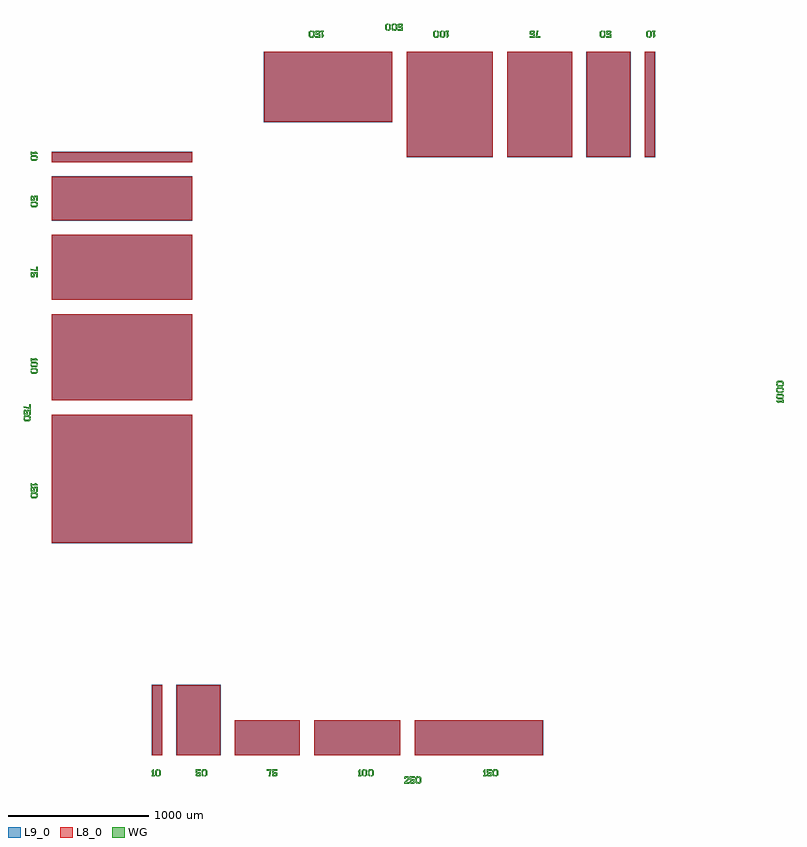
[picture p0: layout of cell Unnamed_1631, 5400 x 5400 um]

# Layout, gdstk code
from math import pi, radians
import gdstk
lib = gdstk.Library(unit=1e-6, precision=1e-09)
def R(c, l, rs):  # rectangles x0, y0, x1, y1
    for r in rs: c.add(gdstk.rectangle(r[:2], r[2:], *l))
def P(c, l, *ps):  # polygons
    for p in ps: c.add(gdstk.Polygon(p, *l))
WG = (1, 0)
L8_0 = (8, 0)
L9_0 = (9, 0)

unnamed_1630 = lib.new_cell('Unnamed_1630')

unnamed_1628 = lib.new_cell('Unnamed_1628')

rectangle_s914_1000_l9__ = lib.new_cell('rectangle_S914_1000_L9__b235e38e')
R(rectangle_s914_1000_l9__, L9_0, [(0,0,914,1000)])

text_t150_s50_p0_0_jleft = lib.new_cell('text_T150_S50_P0_0_Jleft_L1_0')
P(text_t150_s50_p0_0_jleft, WG, [(88.5,0),(91,10),(95,10),(100,15),(100,35),(95,40),(97.5,50),(100,50),(110,40),(110,10),(100,0)],
  [(80,0),(70,10),(70,40),(80,50),(91.5,50),(89,40),(85,40),(80,35),(80,15),(85,10),(82.5,0)],
  [(35,0),(30,5),(30,15),(40,15),(40,10),(55,10),(55,20),(35,20),(30,25),(30,50),(65,50),(65,40),(40,40),(40,30),(60,30),(65,25),(65,5),(60,0)],
  [(5,0),(5,10),(10,10),(10,30),(5,30),(5,40),(15,50),(20,50),(20,10),(25,10),(25,0)])

rectangle_s150_998_l8_0_ = lib.new_cell('rectangle_S150_998_L8_0_cd40ac17')
R(rectangle_s150_998_l8_0_, L8_0, [(0,0,150,998)])

unnamed_1623 = lib.new_cell('Unnamed_1623')
unnamed_1623.add(gdstk.Reference(rectangle_s914_1000_l9__, (212.286,0)))
unnamed_1623.add(gdstk.Reference(text_t150_s50_p0_0_jleft, (696.286,-150)))
unnamed_1623.add(gdstk.Reference(rectangle_s150_998_l8_0_, (214.286,0)))
unnamed_1623.add(gdstk.Reference(rectangle_s150_998_l8_0_, (366.286,0)))
unnamed_1623.add(gdstk.Reference(rectangle_s150_998_l8_0_, (518.286,0)))
unnamed_1623.add(gdstk.Reference(rectangle_s150_998_l8_0_, (670.286,0)))
unnamed_1623.add(gdstk.Reference(rectangle_s150_998_l8_0_, (822.286,0)))
unnamed_1623.add(gdstk.Reference(rectangle_s150_998_l8_0_, (974.286,0)))

rectangle_s614_1000_l9__ = lib.new_cell('rectangle_S614_1000_L9__025cc8c6')
R(rectangle_s614_1000_l9__, L9_0, [(0,0,614,1000)])

text_t100_s50_p0_0_jleft = lib.new_cell('text_T100_S50_P0_0_Jleft_L1_0')
P(text_t100_s50_p0_0_jleft, WG, [(48.5,0),(51,10),(55,10),(60,15),(60,35),(55,40),(57.5,50),(60,50),(70,40),(70,10),(60,0)],
  [(93.5,0),(96,10),(100,10),(105,15),(105,35),(100,40),(102.5,50),(105,50),(115,40),(115,10),(105,0)],
  [(40,0),(30,10),(30,40),(40,50),(51.5,50),(49,40),(45,40),(40,35),(40,15),(45,10),(42.5,0)],
  [(85,0),(75,10),(75,40),(85,50),(96.5,50),(94,40),(90,40),(85,35),(85,15),(90,10),(87.5,0)],
  [(5,0),(5,10),(10,10),(10,30),(5,30),(5,40),(15,50),(20,50),(20,10),(25,10),(25,0)])

rectangle_s100_998_l8_0_ = lib.new_cell('rectangle_S100_998_L8_0_c306aa22')
R(rectangle_s100_998_l8_0_, L8_0, [(0,0,100,998)])

unnamed_1622 = lib.new_cell('Unnamed_1622')
unnamed_1622.add(gdstk.Reference(rectangle_s614_1000_l9__, (212.286,0)))
unnamed_1622.add(gdstk.Reference(text_t100_s50_p0_0_jleft, (521.286,-150)))
unnamed_1622.add(gdstk.Reference(rectangle_s100_998_l8_0_, (214.286,0)))
unnamed_1622.add(gdstk.Reference(rectangle_s100_998_l8_0_, (316.286,0)))
unnamed_1622.add(gdstk.Reference(rectangle_s100_998_l8_0_, (418.286,0)))
unnamed_1622.add(gdstk.Reference(rectangle_s100_998_l8_0_, (520.286,0)))
unnamed_1622.add(gdstk.Reference(rectangle_s100_998_l8_0_, (622.286,0)))
unnamed_1622.add(gdstk.Reference(rectangle_s100_998_l8_0_, (724.286,0)))

rectangle_s464_1000_l9__ = lib.new_cell('rectangle_S464_1000_L9__ba63a64b')
R(rectangle_s464_1000_l9__, L9_0, [(0,0,464,1000)])

text_t75_s50_p0_0_jleft_ = lib.new_cell('text_T75_S50_P0_0_Jleft_L1_0')
P(text_t75_s50_p0_0_jleft_, WG, [(50,0),(45,5),(45,15),(55,15),(55,10),(70,10),(70,20),(50,20),(45,25),(45,50),(80,50),(80,40),(55,40),(55,30),(75,30),(80,25),(80,5),(75,0)],
  [(20,0),(28,40),(5,40),(5,50),(40,50),(30,0)])

rectangle_s75_998_l8_0__ = lib.new_cell('rectangle_S75_998_L8_0__cc8ebacf')
R(rectangle_s75_998_l8_0__, L8_0, [(0,0,75,998)])

unnamed_1621 = lib.new_cell('Unnamed_1621')
unnamed_1621.add(gdstk.Reference(rectangle_s464_1000_l9__, (212.286,0)))
unnamed_1621.add(gdstk.Reference(text_t75_s50_p0_0_jleft_, (433.786,-150)))
unnamed_1621.add(gdstk.Reference(rectangle_s75_998_l8_0__, (214.286,0)))
unnamed_1621.add(gdstk.Reference(rectangle_s75_998_l8_0__, (291.286,0)))
unnamed_1621.add(gdstk.Reference(rectangle_s75_998_l8_0__, (368.286,0)))
unnamed_1621.add(gdstk.Reference(rectangle_s75_998_l8_0__, (445.286,0)))
unnamed_1621.add(gdstk.Reference(rectangle_s75_998_l8_0__, (522.286,0)))
unnamed_1621.add(gdstk.Reference(rectangle_s75_998_l8_0__, (599.286,0)))

text_t750_s50_p0_0_jleft = lib.new_cell('text_T750_S50_P0_0_Jleft_L1_0')
P(text_t750_s50_p0_0_jleft, WG, [(95,0),(85,10),(85,40),(95,50),(106.5,50),(104,40),(100,40),(95,35),(95,15),(100,10),(97.5,0)],
  [(50,0),(45,5),(45,15),(55,15),(55,10),(70,10),(70,20),(50,20),(45,25),(45,50),(80,50),(80,40),(55,40),(55,30),(75,30),(80,25),(80,5),(75,0)],
  [(103.5,0),(106,10),(110,10),(115,15),(115,35),(110,40),(112.5,50),(115,50),(125,40),(125,10),(115,0)],
  [(20,0),(28,40),(5,40),(5,50),(40,50),(30,0)])

rectangle_s314_1000_l9__ = lib.new_cell('rectangle_S314_1000_L9__60679f04')
R(rectangle_s314_1000_l9__, L9_0, [(0,0,314,1000)])

text_t50_s50_p0_0_jleft_ = lib.new_cell('text_T50_S50_P0_0_Jleft_L1_0')
P(text_t50_s50_p0_0_jleft_, WG, [(63.5,0),(66,10),(70,10),(75,15),(75,35),(70,40),(72.5,50),(75,50),(85,40),(85,10),(75,0)],
  [(55,0),(45,10),(45,40),(55,50),(66.5,50),(64,40),(60,40),(55,35),(55,15),(60,10),(57.5,0)],
  [(10,0),(5,5),(5,15),(15,15),(15,10),(30,10),(30,20),(10,20),(5,25),(5,50),(40,50),(40,40),(15,40),(15,30),(35,30),(40,25),(40,5),(35,0)])

rectangle_s50_998_l8_0__ = lib.new_cell('rectangle_S50_998_L8_0__a3cc393b')
R(rectangle_s50_998_l8_0__, L8_0, [(0,0,50,998)])

unnamed_1620 = lib.new_cell('Unnamed_1620')
unnamed_1620.add(gdstk.Reference(rectangle_s314_1000_l9__, (212.286,0)))
unnamed_1620.add(gdstk.Reference(text_t50_s50_p0_0_jleft_, (346.286,-150)))
unnamed_1620.add(gdstk.Reference(rectangle_s50_998_l8_0__, (214.286,0)))
unnamed_1620.add(gdstk.Reference(rectangle_s50_998_l8_0__, (266.286,0)))
unnamed_1620.add(gdstk.Reference(rectangle_s50_998_l8_0__, (318.286,0)))
unnamed_1620.add(gdstk.Reference(rectangle_s50_998_l8_0__, (370.286,0)))
unnamed_1620.add(gdstk.Reference(rectangle_s50_998_l8_0__, (422.286,0)))
unnamed_1620.add(gdstk.Reference(rectangle_s50_998_l8_0__, (474.286,0)))

rectangle_s74_1000_l9_0_ = lib.new_cell('rectangle_S74_1000_L9_0_be32ce78')
R(rectangle_s74_1000_l9_0_, L9_0, [(0,0,74,1000)])

text_t10_s50_p0_0_jleft_ = lib.new_cell('text_T10_S50_P0_0_Jleft_L1_0')
P(text_t10_s50_p0_0_jleft_, WG, [(48.5,0),(51,10),(55,10),(60,15),(60,35),(55,40),(57.5,50),(60,50),(70,40),(70,10),(60,0)],
  [(40,0),(30,10),(30,40),(40,50),(51.5,50),(49,40),(45,40),(40,35),(40,15),(45,10),(42.5,0)],
  [(5,0),(5,10),(10,10),(10,30),(5,30),(5,40),(15,50),(20,50),(20,10),(25,10),(25,0)])

rectangle_s10_998_l8_0__ = lib.new_cell('rectangle_S10_998_L8_0__618c10ad')
R(rectangle_s10_998_l8_0__, L8_0, [(0,0,10,998)])

unnamed_1619 = lib.new_cell('Unnamed_1619')
unnamed_1619.add(gdstk.Reference(rectangle_s74_1000_l9_0_, (212.286,0)))
unnamed_1619.add(gdstk.Reference(text_t10_s50_p0_0_jleft_, (206.286,-150)))
unnamed_1619.add(gdstk.Reference(rectangle_s10_998_l8_0__, (214.286,0)))
unnamed_1619.add(gdstk.Reference(rectangle_s10_998_l8_0__, (226.286,0)))
unnamed_1619.add(gdstk.Reference(rectangle_s10_998_l8_0__, (238.286,0)))
unnamed_1619.add(gdstk.Reference(rectangle_s10_998_l8_0__, (250.286,0)))
unnamed_1619.add(gdstk.Reference(rectangle_s10_998_l8_0__, (262.286,0)))
unnamed_1619.add(gdstk.Reference(rectangle_s10_998_l8_0__, (274.286,0)))

rectangle_s914_750_l9_0_ = lib.new_cell('rectangle_S914_750_L9_0_776c0aa1')
R(rectangle_s914_750_l9_0_, L9_0, [(0,0,914,750)])

rectangle_s150_748_l8_0_ = lib.new_cell('rectangle_S150_748_L8_0_392cc59f')
R(rectangle_s150_748_l8_0_, L8_0, [(0,0,150,748)])

unnamed_1618 = lib.new_cell('Unnamed_1618')
unnamed_1618.add(gdstk.Reference(rectangle_s914_750_l9_0_, (212.286,0)))
unnamed_1618.add(gdstk.Reference(text_t150_s50_p0_0_jleft, (696.286,-150)))
unnamed_1618.add(gdstk.Reference(rectangle_s150_748_l8_0_, (214.286,0)))
unnamed_1618.add(gdstk.Reference(rectangle_s150_748_l8_0_, (366.286,0)))
unnamed_1618.add(gdstk.Reference(rectangle_s150_748_l8_0_, (518.286,0)))
unnamed_1618.add(gdstk.Reference(rectangle_s150_748_l8_0_, (670.286,0)))
unnamed_1618.add(gdstk.Reference(rectangle_s150_748_l8_0_, (822.286,0)))
unnamed_1618.add(gdstk.Reference(rectangle_s150_748_l8_0_, (974.286,0)))

unnamed_1626 = lib.new_cell('Unnamed_1626')
unnamed_1626.add(gdstk.Reference(unnamed_1623, (2366,0)))
unnamed_1626.add(gdstk.Reference(unnamed_1622, (1652,0)))
unnamed_1626.add(gdstk.Reference(unnamed_1621, (1088,0)))
unnamed_1626.add(gdstk.Reference(text_t750_s50_p0_0_jleft, (2500,-200)))
unnamed_1626.add(gdstk.Reference(unnamed_1620, (674,0)))
unnamed_1626.add(gdstk.Reference(unnamed_1619, (500,0)))
unnamed_1626.add(gdstk.Reference(unnamed_1618, (2366,0)))

rectangle_s464_750_l9_0_ = lib.new_cell('rectangle_S464_750_L9_0_09551f73')
R(rectangle_s464_750_l9_0_, L9_0, [(0,0,464,750)])

rectangle_s75_748_l8_0__ = lib.new_cell('rectangle_S75_748_L8_0__21cc7b18')
R(rectangle_s75_748_l8_0__, L8_0, [(0,0,75,748)])

unnamed_1616 = lib.new_cell('Unnamed_1616')
unnamed_1616.add(gdstk.Reference(rectangle_s464_750_l9_0_, (212.286,0)))
unnamed_1616.add(gdstk.Reference(text_t75_s50_p0_0_jleft_, (433.786,-150)))
unnamed_1616.add(gdstk.Reference(rectangle_s75_748_l8_0__, (214.286,0)))
unnamed_1616.add(gdstk.Reference(rectangle_s75_748_l8_0__, (291.286,0)))
unnamed_1616.add(gdstk.Reference(rectangle_s75_748_l8_0__, (368.286,0)))
unnamed_1616.add(gdstk.Reference(rectangle_s75_748_l8_0__, (445.286,0)))
unnamed_1616.add(gdstk.Reference(rectangle_s75_748_l8_0__, (522.286,0)))
unnamed_1616.add(gdstk.Reference(rectangle_s75_748_l8_0__, (599.286,0)))

rectangle_s314_750_l9_0_ = lib.new_cell('rectangle_S314_750_L9_0_d0537e9e')
R(rectangle_s314_750_l9_0_, L9_0, [(0,0,314,750)])

rectangle_s50_748_l8_0__ = lib.new_cell('rectangle_S50_748_L8_0__e69bb82a')
R(rectangle_s50_748_l8_0__, L8_0, [(0,0,50,748)])

unnamed_1615 = lib.new_cell('Unnamed_1615')
unnamed_1615.add(gdstk.Reference(rectangle_s314_750_l9_0_, (212.286,0)))
unnamed_1615.add(gdstk.Reference(text_t50_s50_p0_0_jleft_, (346.286,-150)))
unnamed_1615.add(gdstk.Reference(rectangle_s50_748_l8_0__, (214.286,0)))
unnamed_1615.add(gdstk.Reference(rectangle_s50_748_l8_0__, (266.286,0)))
unnamed_1615.add(gdstk.Reference(rectangle_s50_748_l8_0__, (318.286,0)))
unnamed_1615.add(gdstk.Reference(rectangle_s50_748_l8_0__, (370.286,0)))
unnamed_1615.add(gdstk.Reference(rectangle_s50_748_l8_0__, (422.286,0)))
unnamed_1615.add(gdstk.Reference(rectangle_s50_748_l8_0__, (474.286,0)))

rectangle_s914_500_l9_0_ = lib.new_cell('rectangle_S914_500_L9_0_3b0a7fad')
R(rectangle_s914_500_l9_0_, L9_0, [(0,0,914,500)])

rectangle_s150_498_l8_0_ = lib.new_cell('rectangle_S150_498_L8_0_3344f8a4')
R(rectangle_s150_498_l8_0_, L8_0, [(0,0,150,498)])

unnamed_1613 = lib.new_cell('Unnamed_1613')
unnamed_1613.add(gdstk.Reference(rectangle_s914_500_l9_0_, (212.286,0)))
unnamed_1613.add(gdstk.Reference(text_t150_s50_p0_0_jleft, (696.286,-150)))
unnamed_1613.add(gdstk.Reference(rectangle_s150_498_l8_0_, (214.286,0)))
unnamed_1613.add(gdstk.Reference(rectangle_s150_498_l8_0_, (366.286,0)))
unnamed_1613.add(gdstk.Reference(rectangle_s150_498_l8_0_, (518.286,0)))
unnamed_1613.add(gdstk.Reference(rectangle_s150_498_l8_0_, (670.286,0)))
unnamed_1613.add(gdstk.Reference(rectangle_s150_498_l8_0_, (822.286,0)))
unnamed_1613.add(gdstk.Reference(rectangle_s150_498_l8_0_, (974.286,0)))

rectangle_s614_750_l9_0_ = lib.new_cell('rectangle_S614_750_L9_0_d56e5c2b')
R(rectangle_s614_750_l9_0_, L9_0, [(0,0,614,750)])

rectangle_s100_748_l8_0_ = lib.new_cell('rectangle_S100_748_L8_0_e52924da')
R(rectangle_s100_748_l8_0_, L8_0, [(0,0,100,748)])

unnamed_1617 = lib.new_cell('Unnamed_1617')
unnamed_1617.add(gdstk.Reference(text_t100_s50_p0_0_jleft, (521.286,-150)))
unnamed_1617.add(gdstk.Reference(rectangle_s614_750_l9_0_, (212.286,0)))
unnamed_1617.add(gdstk.Reference(rectangle_s100_748_l8_0_, (214.286,0)))
unnamed_1617.add(gdstk.Reference(rectangle_s100_748_l8_0_, (316.286,0)))
unnamed_1617.add(gdstk.Reference(rectangle_s100_748_l8_0_, (418.286,0)))
unnamed_1617.add(gdstk.Reference(rectangle_s100_748_l8_0_, (520.286,0)))
unnamed_1617.add(gdstk.Reference(rectangle_s100_748_l8_0_, (622.286,0)))
unnamed_1617.add(gdstk.Reference(rectangle_s100_748_l8_0_, (724.286,0)))

rectangle_s614_500_l9_0_ = lib.new_cell('rectangle_S614_500_L9_0_e85d4b33')
R(rectangle_s614_500_l9_0_, L9_0, [(0,0,614,500)])

rectangle_s100_498_l8_0_ = lib.new_cell('rectangle_S100_498_L8_0_8e44272a')
R(rectangle_s100_498_l8_0_, L8_0, [(0,0,100,498)])

unnamed_1612 = lib.new_cell('Unnamed_1612')
unnamed_1612.add(gdstk.Reference(rectangle_s614_500_l9_0_, (212.286,0)))
unnamed_1612.add(gdstk.Reference(text_t100_s50_p0_0_jleft, (521.286,-150)))
unnamed_1612.add(gdstk.Reference(rectangle_s100_498_l8_0_, (214.286,0)))
unnamed_1612.add(gdstk.Reference(rectangle_s100_498_l8_0_, (316.286,0)))
unnamed_1612.add(gdstk.Reference(rectangle_s100_498_l8_0_, (418.286,0)))
unnamed_1612.add(gdstk.Reference(rectangle_s100_498_l8_0_, (520.286,0)))
unnamed_1612.add(gdstk.Reference(rectangle_s100_498_l8_0_, (622.286,0)))
unnamed_1612.add(gdstk.Reference(rectangle_s100_498_l8_0_, (724.286,0)))

rectangle_s74_750_l9_0__ = lib.new_cell('rectangle_S74_750_L9_0__8d9798fd')
R(rectangle_s74_750_l9_0__, L9_0, [(0,0,74,750)])

rectangle_s10_748_l8_0__ = lib.new_cell('rectangle_S10_748_L8_0__afdd4900')
R(rectangle_s10_748_l8_0__, L8_0, [(0,0,10,748)])

unnamed_1614 = lib.new_cell('Unnamed_1614')
unnamed_1614.add(gdstk.Reference(rectangle_s74_750_l9_0__, (212.286,0)))
unnamed_1614.add(gdstk.Reference(text_t10_s50_p0_0_jleft_, (206.286,-150)))
unnamed_1614.add(gdstk.Reference(rectangle_s10_748_l8_0__, (214.286,0)))
unnamed_1614.add(gdstk.Reference(rectangle_s10_748_l8_0__, (226.286,0)))
unnamed_1614.add(gdstk.Reference(rectangle_s10_748_l8_0__, (238.286,0)))
unnamed_1614.add(gdstk.Reference(rectangle_s10_748_l8_0__, (250.286,0)))
unnamed_1614.add(gdstk.Reference(rectangle_s10_748_l8_0__, (262.286,0)))
unnamed_1614.add(gdstk.Reference(rectangle_s10_748_l8_0__, (274.286,0)))

text_t500_s50_p0_0_jleft = lib.new_cell('text_T500_S50_P0_0_Jleft_L1_0')
P(text_t500_s50_p0_0_jleft, WG, [(63.5,0),(66,10),(70,10),(75,15),(75,35),(70,40),(72.5,50),(75,50),(85,40),(85,10),(75,0)],
  [(108.5,0),(111,10),(115,10),(120,15),(120,35),(115,40),(117.5,50),(120,50),(130,40),(130,10),(120,0)],
  [(55,0),(45,10),(45,40),(55,50),(66.5,50),(64,40),(60,40),(55,35),(55,15),(60,10),(57.5,0)],
  [(100,0),(90,10),(90,40),(100,50),(111.5,50),(109,40),(105,40),(100,35),(100,15),(105,10),(102.5,0)],
  [(10,0),(5,5),(5,15),(15,15),(15,10),(30,10),(30,20),(10,20),(5,25),(5,50),(40,50),(40,40),(15,40),(15,30),(35,30),(40,25),(40,5),(35,0)])

rectangle_s464_500_l9_0_ = lib.new_cell('rectangle_S464_500_L9_0_0024b7f1')
R(rectangle_s464_500_l9_0_, L9_0, [(0,0,464,500)])

rectangle_s75_498_l8_0__ = lib.new_cell('rectangle_S75_498_L8_0__5f6cecd9')
R(rectangle_s75_498_l8_0__, L8_0, [(0,0,75,498)])

unnamed_1611 = lib.new_cell('Unnamed_1611')
unnamed_1611.add(gdstk.Reference(rectangle_s464_500_l9_0_, (212.286,0)))
unnamed_1611.add(gdstk.Reference(text_t75_s50_p0_0_jleft_, (433.786,-150)))
unnamed_1611.add(gdstk.Reference(rectangle_s75_498_l8_0__, (214.286,0)))
unnamed_1611.add(gdstk.Reference(rectangle_s75_498_l8_0__, (291.286,0)))
unnamed_1611.add(gdstk.Reference(rectangle_s75_498_l8_0__, (368.286,0)))
unnamed_1611.add(gdstk.Reference(rectangle_s75_498_l8_0__, (445.286,0)))
unnamed_1611.add(gdstk.Reference(rectangle_s75_498_l8_0__, (522.286,0)))
unnamed_1611.add(gdstk.Reference(rectangle_s75_498_l8_0__, (599.286,0)))

unnamed_1625 = lib.new_cell('Unnamed_1625')
unnamed_1625.add(gdstk.Reference(unnamed_1616, (1088,0)))
unnamed_1625.add(gdstk.Reference(unnamed_1615, (674,0)))
unnamed_1625.add(gdstk.Reference(unnamed_1613, (2366,0)))
unnamed_1625.add(gdstk.Reference(unnamed_1617, (1652,0)))
unnamed_1625.add(gdstk.Reference(unnamed_1612, (1652,0)))
unnamed_1625.add(gdstk.Reference(unnamed_1614, (500,0)))
unnamed_1625.add(gdstk.Reference(text_t500_s50_p0_0_jleft, (2500,-200)))
unnamed_1625.add(gdstk.Reference(unnamed_1611, (1088,0)))

text_t1000_s50_p0_0_jlef = lib.new_cell('text_T1000_S50_P0_0_Jleft_L1_0')
P(text_t1000_s50_p0_0_jlef, WG, [(48.5,0),(51,10),(55,10),(60,15),(60,35),(55,40),(57.5,50),(60,50),(70,40),(70,10),(60,0)],
  [(93.5,0),(96,10),(100,10),(105,15),(105,35),(100,40),(102.5,50),(105,50),(115,40),(115,10),(105,0)],
  [(138.5,0),(141,10),(145,10),(150,15),(150,35),(145,40),(147.5,50),(150,50),(160,40),(160,10),(150,0)],
  [(40,0),(30,10),(30,40),(40,50),(51.5,50),(49,40),(45,40),(40,35),(40,15),(45,10),(42.5,0)],
  [(85,0),(75,10),(75,40),(85,50),(96.5,50),(94,40),(90,40),(85,35),(85,15),(90,10),(87.5,0)],
  [(130,0),(120,10),(120,40),(130,50),(141.5,50),(139,40),(135,40),(130,35),(130,15),(135,10),(132.5,0)],
  [(5,0),(5,10),(10,10),(10,30),(5,30),(5,40),(15,50),(20,50),(20,10),(25,10),(25,0)])

unnamed_1627 = lib.new_cell('Unnamed_1627')
unnamed_1627.add(gdstk.Reference(text_t1000_s50_p0_0_jlef, (2500,-200)))

unnamed_1629 = lib.new_cell('Unnamed_1629')

rectangle_s74_500_l9_0__ = lib.new_cell('rectangle_S74_500_L9_0__5876e822')
R(rectangle_s74_500_l9_0__, L9_0, [(0,0,74,500)])

rectangle_s10_498_l8_0__ = lib.new_cell('rectangle_S10_498_L8_0__ad3ec932')
R(rectangle_s10_498_l8_0__, L8_0, [(0,0,10,498)])

unnamed_1609 = lib.new_cell('Unnamed_1609')
unnamed_1609.add(gdstk.Reference(rectangle_s74_500_l9_0__, (212.286,0)))
unnamed_1609.add(gdstk.Reference(text_t10_s50_p0_0_jleft_, (206.286,-150)))
unnamed_1609.add(gdstk.Reference(rectangle_s10_498_l8_0__, (214.286,0)))
unnamed_1609.add(gdstk.Reference(rectangle_s10_498_l8_0__, (226.286,0)))
unnamed_1609.add(gdstk.Reference(rectangle_s10_498_l8_0__, (238.286,0)))
unnamed_1609.add(gdstk.Reference(rectangle_s10_498_l8_0__, (250.286,0)))
unnamed_1609.add(gdstk.Reference(rectangle_s10_498_l8_0__, (262.286,0)))
unnamed_1609.add(gdstk.Reference(rectangle_s10_498_l8_0__, (274.286,0)))

text_t250_s50_p0_0_jleft = lib.new_cell('text_T250_S50_P0_0_Jleft_L1_0')
P(text_t250_s50_p0_0_jleft, WG, [(95,0),(85,10),(85,40),(95,50),(106.5,50),(104,40),(100,40),(95,35),(95,15),(100,10),(97.5,0)],
  [(50,0),(45,5),(45,15),(55,15),(55,10),(70,10),(70,20),(50,20),(45,25),(45,50),(80,50),(80,40),(55,40),(55,30),(75,30),(80,25),(80,5),(75,0)],
  [(103.5,0),(106,10),(110,10),(115,15),(115,35),(110,40),(112.5,50),(115,50),(125,40),(125,10),(115,0)],
  [(5,0),(5,10),(30,35),(30,40),(15,40),(15,35),(5,35),(5,45),(10,50),(35,50),(40,45),(40,30),(20,10),(40,10),(40,0)])

rectangle_s314_250_l9_0_ = lib.new_cell('rectangle_S314_250_L9_0_22a186fa')
R(rectangle_s314_250_l9_0_, L9_0, [(0,0,314,250)])

rectangle_s50_248_l8_0__ = lib.new_cell('rectangle_S50_248_L8_0__6a217ae2')
R(rectangle_s50_248_l8_0__, L8_0, [(0,0,50,248)])

unnamed_1605 = lib.new_cell('Unnamed_1605')
unnamed_1605.add(gdstk.Reference(text_t50_s50_p0_0_jleft_, (346.286,-150)))
unnamed_1605.add(gdstk.Reference(rectangle_s314_250_l9_0_, (212.286,0)))
unnamed_1605.add(gdstk.Reference(rectangle_s50_248_l8_0__, (214.286,0)))
unnamed_1605.add(gdstk.Reference(rectangle_s50_248_l8_0__, (266.286,0)))
unnamed_1605.add(gdstk.Reference(rectangle_s50_248_l8_0__, (318.286,0)))
unnamed_1605.add(gdstk.Reference(rectangle_s50_248_l8_0__, (370.286,0)))
unnamed_1605.add(gdstk.Reference(rectangle_s50_248_l8_0__, (422.286,0)))
unnamed_1605.add(gdstk.Reference(rectangle_s50_248_l8_0__, (474.286,0)))

rectangle_s914_250_l9_0_ = lib.new_cell('rectangle_S914_250_L9_0_9fccb2a8')
R(rectangle_s914_250_l9_0_, L9_0, [(0,0,914,250)])

rectangle_s150_248_l8_0_ = lib.new_cell('rectangle_S150_248_L8_0_45914063')
R(rectangle_s150_248_l8_0_, L8_0, [(0,0,150,248)])

unnamed_1608 = lib.new_cell('Unnamed_1608')
unnamed_1608.add(gdstk.Reference(rectangle_s914_250_l9_0_, (212.286,0)))
unnamed_1608.add(gdstk.Reference(text_t150_s50_p0_0_jleft, (696.286,-150)))
unnamed_1608.add(gdstk.Reference(rectangle_s150_248_l8_0_, (214.286,0)))
unnamed_1608.add(gdstk.Reference(rectangle_s150_248_l8_0_, (366.286,0)))
unnamed_1608.add(gdstk.Reference(rectangle_s150_248_l8_0_, (518.286,0)))
unnamed_1608.add(gdstk.Reference(rectangle_s150_248_l8_0_, (670.286,0)))
unnamed_1608.add(gdstk.Reference(rectangle_s150_248_l8_0_, (822.286,0)))
unnamed_1608.add(gdstk.Reference(rectangle_s150_248_l8_0_, (974.286,0)))

rectangle_s314_500_l9_0_ = lib.new_cell('rectangle_S314_500_L9_0_ed2edd99')
R(rectangle_s314_500_l9_0_, L9_0, [(0,0,314,500)])

rectangle_s50_498_l8_0__ = lib.new_cell('rectangle_S50_498_L8_0__cadecadc')
R(rectangle_s50_498_l8_0__, L8_0, [(0,0,50,498)])

unnamed_1610 = lib.new_cell('Unnamed_1610')
unnamed_1610.add(gdstk.Reference(rectangle_s314_500_l9_0_, (212.286,0)))
unnamed_1610.add(gdstk.Reference(text_t50_s50_p0_0_jleft_, (346.286,-150)))
unnamed_1610.add(gdstk.Reference(rectangle_s50_498_l8_0__, (214.286,0)))
unnamed_1610.add(gdstk.Reference(rectangle_s50_498_l8_0__, (266.286,0)))
unnamed_1610.add(gdstk.Reference(rectangle_s50_498_l8_0__, (318.286,0)))
unnamed_1610.add(gdstk.Reference(rectangle_s50_498_l8_0__, (370.286,0)))
unnamed_1610.add(gdstk.Reference(rectangle_s50_498_l8_0__, (422.286,0)))
unnamed_1610.add(gdstk.Reference(rectangle_s50_498_l8_0__, (474.286,0)))

rectangle_s614_250_l9_0_ = lib.new_cell('rectangle_S614_250_L9_0_f3edcf88')
R(rectangle_s614_250_l9_0_, L9_0, [(0,0,614,250)])

rectangle_s100_248_l8_0_ = lib.new_cell('rectangle_S100_248_L8_0_ec6efe2a')
R(rectangle_s100_248_l8_0_, L8_0, [(0,0,100,248)])

unnamed_1607 = lib.new_cell('Unnamed_1607')
unnamed_1607.add(gdstk.Reference(rectangle_s614_250_l9_0_, (212.286,0)))
unnamed_1607.add(gdstk.Reference(text_t100_s50_p0_0_jleft, (521.286,-150)))
unnamed_1607.add(gdstk.Reference(rectangle_s100_248_l8_0_, (214.286,0)))
unnamed_1607.add(gdstk.Reference(rectangle_s100_248_l8_0_, (316.286,0)))
unnamed_1607.add(gdstk.Reference(rectangle_s100_248_l8_0_, (418.286,0)))
unnamed_1607.add(gdstk.Reference(rectangle_s100_248_l8_0_, (520.286,0)))
unnamed_1607.add(gdstk.Reference(rectangle_s100_248_l8_0_, (622.286,0)))
unnamed_1607.add(gdstk.Reference(rectangle_s100_248_l8_0_, (724.286,0)))

rectangle_s464_250_l9_0_ = lib.new_cell('rectangle_S464_250_L9_0_4d7634d1')
R(rectangle_s464_250_l9_0_, L9_0, [(0,0,464,250)])

rectangle_s75_248_l8_0__ = lib.new_cell('rectangle_S75_248_L8_0__2b17ab04')
R(rectangle_s75_248_l8_0__, L8_0, [(0,0,75,248)])

unnamed_1606 = lib.new_cell('Unnamed_1606')
unnamed_1606.add(gdstk.Reference(rectangle_s464_250_l9_0_, (212.286,0)))
unnamed_1606.add(gdstk.Reference(text_t75_s50_p0_0_jleft_, (433.786,-150)))
unnamed_1606.add(gdstk.Reference(rectangle_s75_248_l8_0__, (214.286,0)))
unnamed_1606.add(gdstk.Reference(rectangle_s75_248_l8_0__, (291.286,0)))
unnamed_1606.add(gdstk.Reference(rectangle_s75_248_l8_0__, (368.286,0)))
unnamed_1606.add(gdstk.Reference(rectangle_s75_248_l8_0__, (445.286,0)))
unnamed_1606.add(gdstk.Reference(rectangle_s75_248_l8_0__, (522.286,0)))
unnamed_1606.add(gdstk.Reference(rectangle_s75_248_l8_0__, (599.286,0)))

rectangle_s74_250_l9_0__ = lib.new_cell('rectangle_S74_250_L9_0__596b5927')
R(rectangle_s74_250_l9_0__, L9_0, [(0,0,74,250)])

rectangle_s10_248_l8_0__ = lib.new_cell('rectangle_S10_248_L8_0__7390707e')
R(rectangle_s10_248_l8_0__, L8_0, [(0,0,10,248)])

unnamed_1604 = lib.new_cell('Unnamed_1604')
unnamed_1604.add(gdstk.Reference(text_t10_s50_p0_0_jleft_, (206.286,-150)))
unnamed_1604.add(gdstk.Reference(rectangle_s74_250_l9_0__, (212.286,0)))
unnamed_1604.add(gdstk.Reference(rectangle_s10_248_l8_0__, (214.286,0)))
unnamed_1604.add(gdstk.Reference(rectangle_s10_248_l8_0__, (226.286,0)))
unnamed_1604.add(gdstk.Reference(rectangle_s10_248_l8_0__, (238.286,0)))
unnamed_1604.add(gdstk.Reference(rectangle_s10_248_l8_0__, (250.286,0)))
unnamed_1604.add(gdstk.Reference(rectangle_s10_248_l8_0__, (262.286,0)))
unnamed_1604.add(gdstk.Reference(rectangle_s10_248_l8_0__, (274.286,0)))

unnamed_1624 = lib.new_cell('Unnamed_1624')
unnamed_1624.add(gdstk.Reference(unnamed_1609, (500,0)))
unnamed_1624.add(gdstk.Reference(text_t250_s50_p0_0_jleft, (2500,-200)))
unnamed_1624.add(gdstk.Reference(unnamed_1605, (674,0)))
unnamed_1624.add(gdstk.Reference(unnamed_1608, (2366,0)))
unnamed_1624.add(gdstk.Reference(unnamed_1610, (674,0)))
unnamed_1624.add(gdstk.Reference(unnamed_1607, (1652,0)))
unnamed_1624.add(gdstk.Reference(unnamed_1606, (1088,0)))
unnamed_1624.add(gdstk.Reference(unnamed_1604, (500,0)))

unnamed_1631 = lib.new_cell('Unnamed_1631')
unnamed_1631.add(gdstk.Reference(unnamed_1630, (5000,0), rotation=pi/2))
unnamed_1631.add(gdstk.Reference(unnamed_1628, (5000,0), rotation=pi/2))
unnamed_1631.add(gdstk.Reference(unnamed_1626, (0,5000), rotation=3*pi/2))
unnamed_1631.add(gdstk.Reference(unnamed_1625, (5000,5000), rotation=pi))
unnamed_1631.add(gdstk.Reference(unnamed_1627, (5000,0), rotation=pi/2))
unnamed_1631.add(gdstk.Reference(unnamed_1629, (5000,0), rotation=pi/2))
unnamed_1631.add(gdstk.Reference(unnamed_1624, (0,0)))

lib.write_gds('Unnamed_1631.gds')
